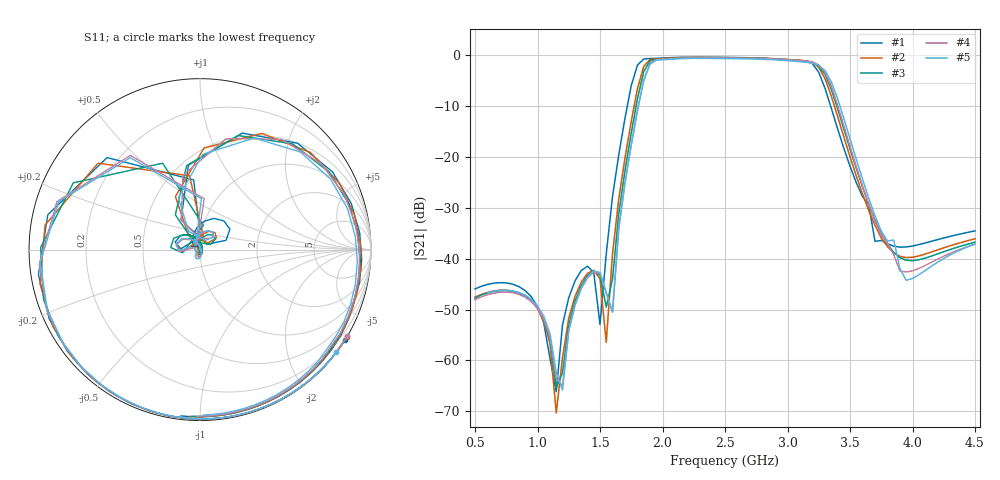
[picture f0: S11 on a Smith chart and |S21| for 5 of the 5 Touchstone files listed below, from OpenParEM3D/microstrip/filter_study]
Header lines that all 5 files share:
! 2-port S-parameter data
! S-port 1 net1
! S-port 2 net2
# GHz S DB R 50
!freq dBS11 angS11 dBS21 angS21 dBS12 angS12 dBS22 angS22
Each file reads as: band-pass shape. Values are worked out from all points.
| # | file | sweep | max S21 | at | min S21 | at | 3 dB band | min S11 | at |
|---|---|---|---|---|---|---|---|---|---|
| 1 | filter_1st_order.s2p | 500 MHz to 4.5 GHz | -0.43 dB | 2.25 GHz | -66.1 dB | 1.15 GHz | 1.8 GHz-3.25 GHz | -36.4 dB | 2.25 GHz |
| 2 | filter_2nd_order.s2p | 500 MHz to 4.5 GHz | -0.48 dB | 2.25 GHz | -70.3 dB | 1.15 GHz | 1.85 GHz-3.25 GHz | -38.7 dB | 2.75 GHz |
| 3 | filter_3rd_order.s2p | 500 MHz to 4.5 GHz | -0.52 dB | 2.3 GHz | -65.3 dB | 1.15 GHz | 1.85 GHz-3.25 GHz | -42.9 dB | 2.8 GHz |
| 4 | filter_4th_order.s2p | 500 MHz to 4.5 GHz | -0.54 dB | 2.25 GHz | -65.0 dB | 1.2 GHz | 1.9 GHz-3.3 GHz | -39.9 dB | 2.25 GHz |
| 5 | filter_5th_order.s2p | 600 MHz to 4.5 GHz | -0.65 dB | 2.3 GHz | -65.8 dB | 1.2 GHz | 1.9 GHz-3.3 GHz | -40.5 dB | 2.25 GHz |
